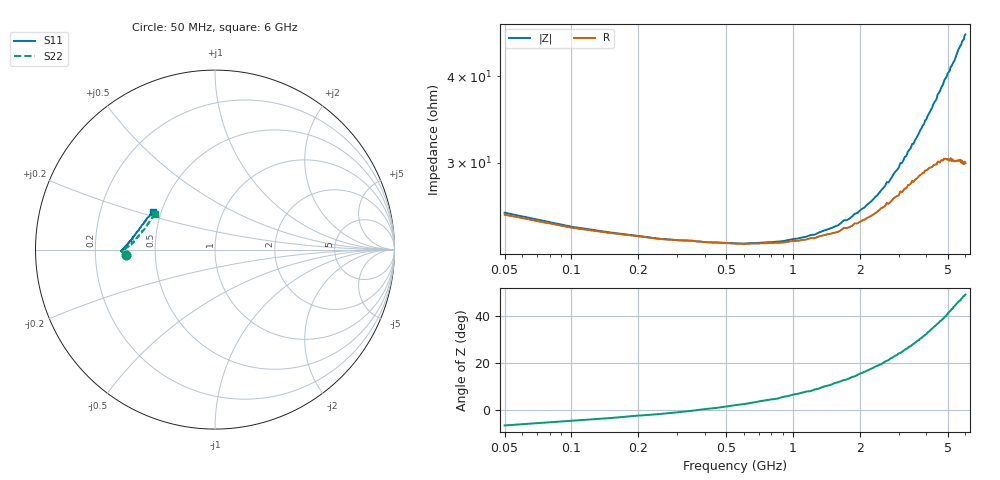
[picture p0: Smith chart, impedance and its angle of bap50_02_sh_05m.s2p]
! Created by janssen on Wed Jul 24 12:32:06 METDST 2002
# HZ S MA R 50
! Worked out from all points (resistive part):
!   120 points, 50 MHz to 6 GHz, reference 50 ohm
!   read as one part in shunt: R = 25.2 ohm at 50 MHz
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5e7  0.4974 -176.6  0.5053 -3.2  0.5043 -3.2  0.498 -176.6
1.5e8  0.5125 -177.9  0.4876 -1.5  0.4862 -1.5  0.5124 -177.9
3e8  0.5178 -178.5  0.4807 0.2  0.4796 0.1  0.5183 -178.5
1.05e9  0.5201 -179.5  0.4836 6.1  0.4831 6.0  0.5154 -179.3
2.05e9  0.502 178.5  0.5161 11.9  0.513 11.7  0.4946 179.0
2.7e9  0.4886 176.2  0.5456 14.6  0.5408 14.4  0.4723 176.9
3e9  0.4789 174.7  0.5628 15.6  0.558 15.5  0.4632 175.3
3.05e9  0.4696 173.7  0.5636 15.4  0.5568 15.5  0.4546 175.0
3.1e9  0.4736 174.3  0.5668 15.8  0.5625 15.7  0.4582 175.0
3.25e9  0.4698 173.6  0.5754 16.3  0.569 16.1  0.4527 174.0
4.05e9  0.4474 167.3  0.6223 17.4  0.6166 17.5  0.4256 168.3
4.3e9  0.4374 165.7  0.635 17.5  0.6289 17.7  0.4176 165.5
4.35e9  0.4377 164.7  0.6387 17.6  0.6329 18.0  0.4159 165.9
5.05e9  0.4221 158.2  0.6746 17.7  0.6692 18.2  0.3976 158.8
5.4e9  0.417 154.8  0.6929 17.5  0.6878 18.2  0.3942 155.1
5.5e9  0.4107 153.5  0.6981 17.4  0.6936 18.0  0.3938 154.3
5.55e9  0.4109 153.1  0.7007 17.3  0.6949 17.9  0.392 153.0
5.6e9  0.4093 152.6  0.7032 17.4  0.6981 17.9  0.3905 153.2
5.7e9  0.4107 152.2  0.7085 17.1  0.7018 17.8  0.391 152.1
5.85e9  0.4091 149.8  0.7146 17.2  0.7096 17.8  0.3874 150.5
5.95e9  0.403 149.5  0.7189 17.0  0.7157 17.7  0.3877 149.6
6e9  0.4052 148.7  0.721 16.9  0.7194 17.6  0.3879 149.2
